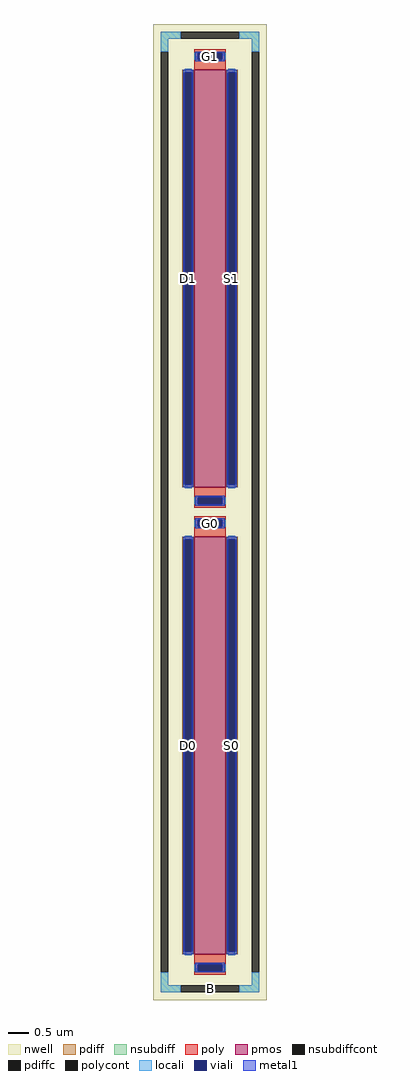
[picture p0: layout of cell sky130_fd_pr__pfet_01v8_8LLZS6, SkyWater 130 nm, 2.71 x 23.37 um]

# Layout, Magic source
magic
tech sky130A
magscale 1 2
<< nwell >>
rect -271 -2337 271 2337
<< pmos >>
rect -75 118 75 2118
rect -75 -2118 75 -118
<< pdiff >>
rect -133 2106 -75 2118
rect -133 130 -121 2106
rect -87 130 -75 2106
rect -133 118 -75 130
rect 75 2106 133 2118
rect 75 130 87 2106
rect 121 130 133 2106
rect 75 118 133 130
rect -133 -130 -75 -118
rect -133 -2106 -121 -130
rect -87 -2106 -75 -130
rect -133 -2118 -75 -2106
rect 75 -130 133 -118
rect 75 -2106 87 -130
rect 121 -2106 133 -130
rect 75 -2118 133 -2106
<< pdiffc >>
rect -121 130 -87 2106
rect 87 130 121 2106
rect -121 -2106 -87 -130
rect 87 -2106 121 -130
<< nsubdiff >>
rect -235 2267 -139 2301
rect 139 2267 235 2301
rect -235 2205 -201 2267
rect 201 2205 235 2267
rect -235 -2267 -201 -2205
rect 201 -2267 235 -2205
rect -235 -2301 -139 -2267
rect 139 -2301 235 -2267
<< nsubdiffcont >>
rect -139 2267 139 2301
rect -235 -2205 -201 2205
rect 201 -2205 235 2205
rect -139 -2301 139 -2267
<< poly >>
rect -75 2199 75 2215
rect -75 2165 -59 2199
rect 59 2165 75 2199
rect -75 2118 75 2165
rect -75 71 75 118
rect -75 37 -59 71
rect 59 37 75 71
rect -75 21 75 37
rect -75 -37 75 -21
rect -75 -71 -59 -37
rect 59 -71 75 -37
rect -75 -118 75 -71
rect -75 -2165 75 -2118
rect -75 -2199 -59 -2165
rect 59 -2199 75 -2165
rect -75 -2215 75 -2199
<< polycont >>
rect -59 2165 59 2199
rect -59 37 59 71
rect -59 -71 59 -37
rect -59 -2199 59 -2165
<< locali >>
rect -235 2267 -139 2301
rect 139 2267 235 2301
rect -235 2205 -201 2267
rect 201 2205 235 2267
rect -75 2165 -59 2199
rect 59 2165 75 2199
rect -121 2106 -87 2122
rect -121 114 -87 130
rect 87 2106 121 2122
rect 87 114 121 130
rect -75 37 -59 71
rect 59 37 75 71
rect -75 -71 -59 -37
rect 59 -71 75 -37
rect -121 -130 -87 -114
rect -121 -2122 -87 -2106
rect 87 -130 121 -114
rect 87 -2122 121 -2106
rect -75 -2199 -59 -2165
rect 59 -2199 75 -2165
rect -235 -2267 -201 -2205
rect 201 -2267 235 -2205
rect -235 -2301 -139 -2267
rect 139 -2301 235 -2267
<< viali >>
rect -59 2165 59 2199
rect -121 130 -87 2106
rect 87 130 121 2106
rect -59 37 59 71
rect -59 -71 59 -37
rect -121 -2106 -87 -130
rect 87 -2106 121 -130
rect -59 -2199 59 -2165
<< metal1 >>
rect -71 2199 71 2205
rect -71 2165 -59 2199
rect 59 2165 71 2199
rect -71 2159 71 2165
rect -127 2106 -81 2118
rect -127 130 -121 2106
rect -87 130 -81 2106
rect -127 118 -81 130
rect 81 2106 127 2118
rect 81 130 87 2106
rect 121 130 127 2106
rect 81 118 127 130
rect -71 71 71 77
rect -71 37 -59 71
rect 59 37 71 71
rect -71 31 71 37
rect -71 -37 71 -31
rect -71 -71 -59 -37
rect 59 -71 71 -37
rect -71 -77 71 -71
rect -127 -130 -81 -118
rect -127 -2106 -121 -130
rect -87 -2106 -81 -130
rect -127 -2118 -81 -2106
rect 81 -130 127 -118
rect 81 -2106 87 -130
rect 121 -2106 127 -130
rect 81 -2118 127 -2106
rect -71 -2165 71 -2159
rect -71 -2199 -59 -2165
rect 59 -2199 71 -2165
rect -71 -2205 71 -2199
<< labels >>
rlabel nsubdiffcont 0 -2284 0 -2284 0 B
port 1 nsew
rlabel pdiffc -104 -1118 -104 -1118 0 D0
port 2 nsew
rlabel pdiffc 104 -1118 104 -1118 0 S0
port 3 nsew
rlabel polycont 0 -54 0 -54 0 G0
port 4 nsew
rlabel pdiffc -104 1118 -104 1118 0 D1
port 5 nsew
rlabel pdiffc 104 1118 104 1118 0 S1
port 6 nsew
rlabel polycont 0 2182 0 2182 0 G1
port 7 nsew
<< properties >>
string FIXED_BBOX -218 -2284 218 2284
string gencell sky130_fd_pr__pfet_01v8
string library sky130
string parameters w 10.0 l 0.75 m 2 nf 1 diffcov 100 polycov 100 guard 1 glc 1 grc 1 gtc 1 gbc 1 tbcov 100 rlcov 100 topc 1 botc 1 poverlap 0 doverlap 1 lmin 0.15 wmin 0.42 class mosfet compatible {sky130_fd_pr__pfet_01v8  sky130_fd_pr__pfet_01v8_lvt sky130_fd_pr__pfet_01v8_hvt  sky130_fd_pr__pfet_g5v0d10v5} full_metal 1 conn_gates 0 viasrc 100 viadrn 100 viagate 100 viagb 0 viagr 0 viagl 0 viagt 0 doports 1
<< end >>
